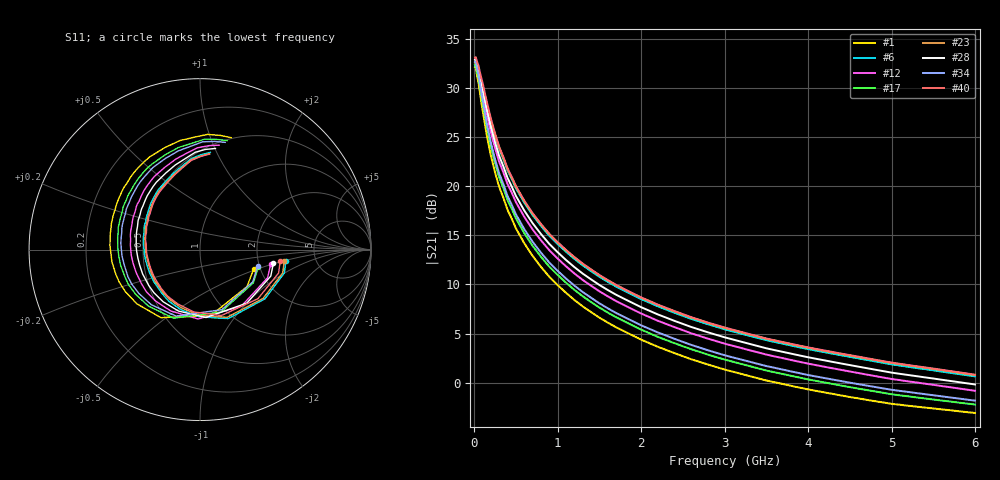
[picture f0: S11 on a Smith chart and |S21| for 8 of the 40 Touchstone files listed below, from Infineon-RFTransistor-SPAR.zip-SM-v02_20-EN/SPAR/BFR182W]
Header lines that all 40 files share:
! Infineon Technologies  Discrete & RF Semiconductors
! BFR182W
! Common Emitter S-Parameters:  Jan 2017
# GHz  S  MA  R  50
!  f  S11  S21  S12  S22
! GHz  MAG  ANG  MAG  ANG  MAG  ANG  MAG  ANG
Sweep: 10 MHz to 6 GHz
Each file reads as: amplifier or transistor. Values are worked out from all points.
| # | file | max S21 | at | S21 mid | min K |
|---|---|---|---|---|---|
| 1 | BFR182W_VCE_3.0V_IC_43mA.s2p | 32.1 dB | 10 MHz | 3.7 dB at 2.2 GHz | 0.47 |
| 2 | BFR182W_VCE_3.0V_IC_45mA.s2p | 32.0 dB | 10 MHz | 3.2 dB at 2.2 GHz | 0.48 |
| 3 | BFR182W_VCE_3.0V_IC_47mA.s2p | 31.9 dB | 10 MHz | 2.9 dB at 2.2 GHz | 0.50 |
| 4 | BFR182W_VCE_3.0V_IC_48mA.s2p | 31.9 dB | 10 MHz | 2.7 dB at 2.2 GHz | 0.52 |
| 5 | BFR182W_VCE_3.0V_IC_50mA.s2p | 31.8 dB | 10 MHz | 2.3 dB at 2.2 GHz | 0.54 |
| 6 | BFR182W_VCE_4.0V_IC_27mA.s2p | 32.3 dB | 10 MHz | 7.8 dB at 2.2 GHz | 0.14 |
| 7 | BFR182W_VCE_4.0V_IC_28mA.s2p | 32.4 dB | 10 MHz | 7.7 dB at 2.2 GHz | 0.14 |
| 8 | BFR182W_VCE_4.0V_IC_30mA.s2p | 32.5 dB | 10 MHz | 7.5 dB at 2.2 GHz | 0.09 |
| 9 | BFR182W_VCE_4.0V_IC_32mA.s2p | 32.6 dB | 10 MHz | 7.2 dB at 2.2 GHz | 0.20 |
| 10 | BFR182W_VCE_4.0V_IC_33mA.s2p | 32.7 dB | 20 MHz | 7.0 dB at 2.2 GHz | 0.20 |
| 11 | BFR182W_VCE_4.0V_IC_35mA.s2p | 32.7 dB | 10 MHz | 6.7 dB at 2.2 GHz | 0.21 |
| 12 | BFR182W_VCE_4.0V_IC_37mA.s2p | 32.7 dB | 10 MHz | 6.3 dB at 2.2 GHz | 0.33 |
| 13 | BFR182W_VCE_4.0V_IC_38mA.s2p | 32.6 dB | 20 MHz | 6.1 dB at 2.2 GHz | 0.26 |
| 14 | BFR182W_VCE_4.0V_IC_40mA.s2p | 32.6 dB | 10 MHz | 5.7 dB at 2.2 GHz | 0.37 |
| 15 | BFR182W_VCE_4.0V_IC_42mA.s2p | 32.5 dB | 10 MHz | 5.3 dB at 2.2 GHz | 0.37 |
| 16 | BFR182W_VCE_4.0V_IC_43mA.s2p | 32.5 dB | 10 MHz | 5.1 dB at 2.2 GHz | 0.40 |
| 17 | BFR182W_VCE_4.0V_IC_45mA.s2p | 32.4 dB | 10 MHz | 4.7 dB at 2.2 GHz | 0.43 |
| 18 | BFR182W_VCE_4.0V_IC_47mA.s2p | 32.3 dB | 10 MHz | 4.3 dB at 2.2 GHz | 0.45 |
| 19 | BFR182W_VCE_4.0V_IC_48mA.s2p | 32.2 dB | 10 MHz | 4.1 dB at 2.2 GHz | 0.46 |
| 20 | BFR182W_VCE_4.0V_IC_50mA.s2p | 32.1 dB | 10 MHz | 3.7 dB at 2.2 GHz | 0.49 |
| 21 | BFR182W_VCE_5.0V_IC_27mA.s2p | 32.3 dB | 20 MHz | 8.1 dB at 2.2 GHz | 0.08 |
| 22 | BFR182W_VCE_5.0V_IC_28mA.s2p | 32.4 dB | 20 MHz | 8.0 dB at 2.2 GHz | 0.10 |
| 23 | BFR182W_VCE_5.0V_IC_30mA.s2p | 32.6 dB | 10 MHz | 7.9 dB at 2.2 GHz | 0.17 |
| 24 | BFR182W_VCE_5.0V_IC_32mA.s2p | 32.7 dB | 20 MHz | 7.7 dB at 2.2 GHz | 0.16 |
| 25 | BFR182W_VCE_5.0V_IC_33mA.s2p | 32.8 dB | 10 MHz | 7.6 dB at 2.2 GHz | 0.18 |
| 26 | BFR182W_VCE_5.0V_IC_35mA.s2p | 32.8 dB | 10 MHz | 7.4 dB at 2.2 GHz | 0.18 |
| 27 | BFR182W_VCE_5.0V_IC_37mA.s2p | 32.9 dB | 20 MHz | 7.1 dB at 2.2 GHz | 0.25 |
| 28 | BFR182W_VCE_5.0V_IC_38mA.s2p | 32.9 dB | 10 MHz | 6.9 dB at 2.2 GHz | 0.26 |
| 29 | BFR182W_VCE_5.0V_IC_40mA.s2p | 32.9 dB | 10 MHz | 6.6 dB at 2.2 GHz | 0.30 |
| 30 | BFR182W_VCE_5.0V_IC_42mA.s2p | 32.9 dB | 10 MHz | 6.3 dB at 2.2 GHz | 0.33 |
| 31 | BFR182W_VCE_5.0V_IC_43mA.s2p | 32.9 dB | 10 MHz | 6.1 dB at 2.2 GHz | 0.37 |
| 32 | BFR182W_VCE_5.0V_IC_45mA.s2p | 32.8 dB | 10 MHz | 5.7 dB at 2.2 GHz | 0.37 |
| 33 | BFR182W_VCE_5.0V_IC_47mA.s2p | 32.7 dB | 10 MHz | 5.3 dB at 2.2 GHz | 0.40 |
| 34 | BFR182W_VCE_5.0V_IC_48mA.s2p | 32.7 dB | 10 MHz | 5.1 dB at 2.2 GHz | 0.43 |
| 35 | BFR182W_VCE_5.0V_IC_50mA.s2p | 32.6 dB | 10 MHz | 4.7 dB at 2.2 GHz | 0.45 |
| 36 | BFR182W_VCE_6.0V_IC_27mA.s2p | 32.6 dB | 20 MHz | 8.3 dB at 2.2 GHz | 0.13 |
| 37 | BFR182W_VCE_6.0V_IC_28mA.s2p | 32.7 dB | 10 MHz | 8.3 dB at 2.2 GHz | 0.08 |
| 38 | BFR182W_VCE_6.0V_IC_30mA.s2p | 32.9 dB | 10 MHz | 8.2 dB at 2.2 GHz | 0.09 |
| 39 | BFR182W_VCE_6.0V_IC_32mA.s2p | 33.0 dB | 10 MHz | 8.0 dB at 2.2 GHz | 0.11 |
| 40 | BFR182W_VCE_6.0V_IC_33mA.s2p | 33.1 dB | 20 MHz | 7.9 dB at 2.2 GHz | 0.16 |

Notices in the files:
Hoja de datos/BFP 450/Infineon-RFTransistor-SPAR.zip-SM-v02_20-EN/SPAR/BFR182W/BFR182W_VCE_3.0V_IC_43mA.s2p:
(c) 2017  Infineon Technologies AG, Munich
